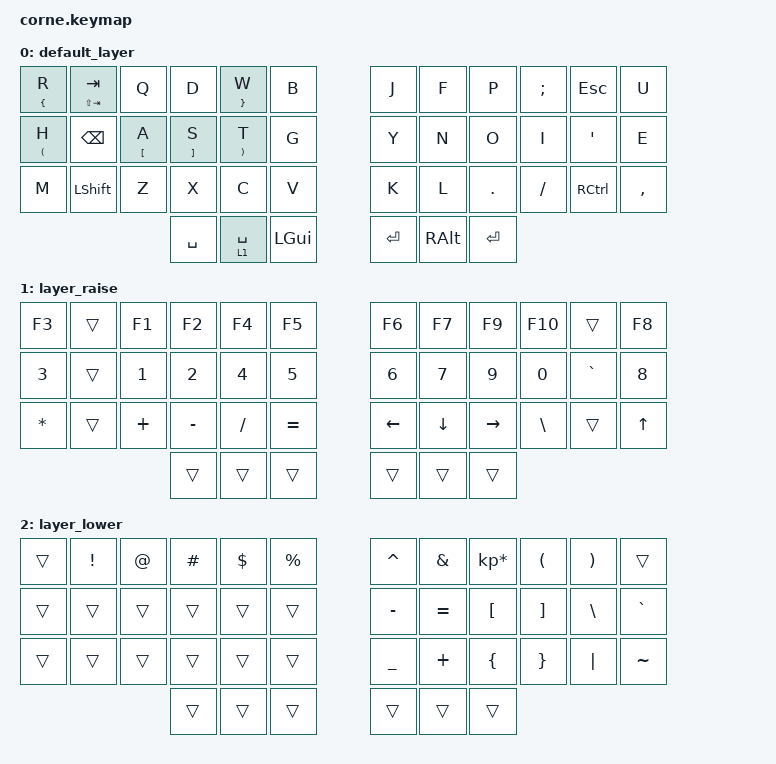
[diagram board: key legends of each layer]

/*
 * Copyright (c) 2020 The ZMK Contributors
 *
 * SPDX-License-Identifier: MIT
 */


/* THIS FILE WAS GENERATED!
 *
 * This file was generated automatically. You may or may not want to
 * edit it directly.
 */

#include <behaviors.dtsi>
#include <dt-bindings/zmk/keys.h>

/ {
    behaviors {
        bhm: balanced_homerow_mods {
            compatible = "zmk,behavior-hold-tap";
            label = "HOMEROW_MODS";
            #binding-cells = <2>;
            tapping-term-ms = <200>;    // <---[[moderate duration]]
            quick-tap-ms = <0>;
            flavor = "balanced";
            bindings = <&kp>, <&kp>;
        };
    };

    keymap {
        compatible = "zmk,keymap";

        default_layer {
            bindings = <
    &bhm LBRC R  &bhm LS(TAB) TAB &kp Q        &kp D        &bhm RBRC W  &kp B      &kp J      &kp F     &kp P     &kp SEMI   &kp ESC           &kp U
    &bhm LPAR H  &kp BSPC         &bhm LBKT A  &bhm RBKT S  &bhm RPAR T  &kp G      &kp Y      &kp N     &kp O     &kp I      &kp SINGLE_QUOTE  &kp E
    &kp M        &kp LEFT_SHIFT   &kp Z        &kp X        &kp C        &kp V      &kp K      &kp L     &kp DOT   &kp FSLH   &kp RCTRL         &kp COMMA
                                  &kp SPACE  &lt 1 SPACE    &kp LGUI                &kp ENTER  &kp RALT  &kp ENTER
            >;
        };

        layer_raise {
            bindings = <
    &kp F3  &trans    &kp F1     &kp F2    &kp F4     &kp F5                    &kp F6          &kp F7           &kp F9   &kp F10     &trans        &kp F8
    &kp N3  &trans    &kp N1     &kp N2    &kp N4     &kp N5                    &kp N6          &kp N7           &kp N9    &kp N0  &kp GRAVE        &kp N8
 &kp ASTRK  &trans  &kp PLUS  &kp MINUS  &kp FSLH  &kp EQUAL            &kp LEFT_ARROW  &kp DOWN_ARROW  &kp RIGHT_ARROW  &kp BSLH     &trans  &kp UP_ARROW
                                 &trans    &trans     &trans                    &trans          &trans           &trans
            >;
        };

        layer_lower {
            bindings = <
 &trans  &kp EXCL  &kp AT  &kp HASH  &kp DLLR  &kp PRCNT            &kp CARET   &kp AMPS  &kp KP_MULTIPLY  &kp LPAR  &kp RPAR     &trans
 &trans    &trans  &trans    &trans    &trans     &trans            &kp MINUS  &kp EQUAL         &kp LBKT  &kp RBKT  &kp BSLH  &kp GRAVE
 &trans    &trans  &trans    &trans    &trans     &trans            &kp UNDER   &kp PLUS         &kp LBRC  &kp RBRC  &kp PIPE  &kp TILDE
                             &trans    &trans     &trans               &trans     &trans           &trans
            >;
        };

    };
};
